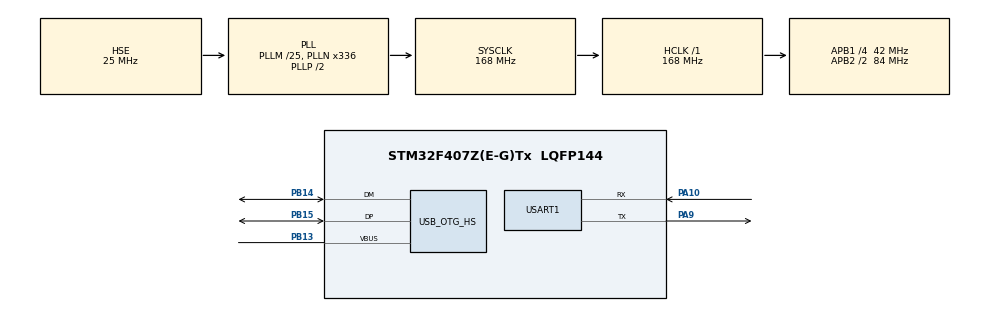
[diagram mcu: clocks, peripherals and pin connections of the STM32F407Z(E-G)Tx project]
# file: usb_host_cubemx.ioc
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Mcu.Family=STM32F4
Mcu.Name=STM32F407Z(E-G)Tx
Mcu.Package=LQFP144
NVIC.OTG_HS_IRQn=true\:0\:0\:false\:false\:true\:false\:true\:true
NVIC.PriorityGroup=NVIC_PRIORITYGROUP_4
PA10.Mode=Asynchronous
PA10.Signal=USART1_RX
PA9.Mode=Asynchronous
PA9.Signal=USART1_TX
PB13.Mode=Activate_VBUS_FS
PB13.Signal=USB_OTG_HS_VBUS
PB14.Mode=Host_FS
PB14.Signal=USB_OTG_HS_DM
PB15.Mode=Host_FS
PB15.Signal=USB_OTG_HS_DP
PH0-OSC_IN.Mode=HSE-External-Oscillator
PH0-OSC_IN.Signal=RCC_OSC_IN
PH1-OSC_OUT.Mode=HSE-External-Oscillator
PH1-OSC_OUT.Signal=RCC_OSC_OUT
ProjectManager.HeapSize=0x200
ProjectManager.StackSize=0x400
ProjectManager.TargetToolchain=STM32CubeIDE
RCC.48MHZClocksFreq_Value=48000000
RCC.AHBFreq_Value=168000000
RCC.APB1CLKDivider=RCC_HCLK_DIV4
RCC.APB1Freq_Value=42000000
RCC.APB1TimFreq_Value=84000000
RCC.APB2CLKDivider=RCC_HCLK_DIV2
RCC.APB2Freq_Value=84000000
RCC.APB2TimFreq_Value=168000000
RCC.CortexFreq_Value=168000000
RCC.HCLKFreq_Value=168000000
RCC.HSE_VALUE=25000000
RCC.HSI_VALUE=16000000
RCC.LSE_VALUE=32768
RCC.PLLM=25
RCC.PLLN=336
RCC.PLLQ=7
RCC.SYSCLKFreq_VALUE=168000000
RCC.SYSCLKSource=RCC_SYSCLKSOURCE_PLLCLK
RCC.VCOOutputFreq_Value=336000000
USART1.VirtualMode=VM_ASYNC
USB_HOST.SW_VBUS_DRIVE_HID_HS=true
USB_HOST.USBH_HandleTypeDef-HID_HS=hUsbHostHS
USB_HOST.VirtualModeHS=Hid
USB_OTG_HS.VirtualMode-Host_FS=Host_FS
VP_USB_HOST_VS_USB_HOST_HID_HS.Mode=HID_HS
board=custom

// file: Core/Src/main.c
/* USER CODE BEGIN Header */
/**
  ******************************************************************************
  * @file           : main.c
  * @brief          : Main program body
  ******************************************************************************
  * @attention
  *
  * Copyright (c) 2026 STMicroelectronics.
  * All rights reserved.
  *
  * This software is licensed under terms that can be found in the LICENSE file
  * in the root directory of this software component.
  * If no LICENSE file comes with this software, it is provided AS-IS.
  *
  ******************************************************************************
  */
/* USER CODE END Header */
#include "main.h"
#include "usb_host.h"

/* USER CODE BEGIN Includes */
#include "usbh_def.h"
#include "usbh_hid.h"
/* USER CODE END Includes */

UART_HandleTypeDef huart1;

void SystemClock_Config(void);
static void MX_GPIO_Init(void);
static void MX_USART1_UART_Init(void);
void MX_USB_HOST_Process(void);

/* USER CODE BEGIN 0 */
#define hUART           huart1
int _write( int32_t file , uint8_t *ptr , int32_t len )
{
    /* Implement your write code here, this is used by puts and printf for example */
    for ( int16_t i = 0 ; i < len ; ++i )
    {
        HAL_UART_Transmit( &hUART, ptr++, 1, 100);
    }
    return len;
}

void USBH_HID_EventCallback(USBH_HandleTypeDef *phost)
{
	if(USBH_HID_GetDeviceType(phost) == HID_MOUSE)  // if the HID is Mouse
	{
		HID_MOUSE_Info_TypeDef *Mouse_Info;
		Mouse_Info = USBH_HID_GetMouseInfo(phost);  // Get the info
		int X_Val = Mouse_Info->x;  // get the x value
		int Y_Val = Mouse_Info->y;  // get the y value
		if (X_Val > 127) X_Val -= 255;
		if (Y_Val > 127) Y_Val -= 255;
		printf ("X=%d, Y=%d, Button1=%d, Button2=%d, Button3=%d\r\n", X_Val, Y_Val, \
				                                Mouse_Info->buttons[0],Mouse_Info->buttons[1], Mouse_Info->buttons[2]);
	}

	if(USBH_HID_GetDeviceType(phost) == HID_KEYBOARD)  // if the HID is Mouse
	{
		uint8_t key;
		HID_KEYBD_Info_TypeDef *Keyboard_Info;
		Keyboard_Info = USBH_HID_GetKeybdInfo(phost);  // get the info
		key = USBH_HID_GetASCIICode(Keyboard_Info);  // get the key pressed

		if(key >=32 && key <= 126)
		{
			printf("Key Pressed = %c\r\n", key);
		}
	}
}
/* USER CODE END 0 */

int main(void)
{

  /* MCU Configuration--------------------------------------------------------*/

  /* Reset of all peripherals, Initializes the Flash interface and the Systick. */
  HAL_Init();

  /* Configure the system clock */
  SystemClock_Config();

  /* Initialize all configured peripherals */
  MX_GPIO_Init();
  MX_USART1_UART_Init();
  MX_USB_HOST_Init();

  /* Infinite loop */
  while (1)
  {
    MX_USB_HOST_Process();

  }
}

void SystemClock_Config(void)
{
  RCC_OscInitTypeDef RCC_OscInitStruct = {0};
  RCC_ClkInitTypeDef RCC_ClkInitStruct = {0};

  /** Configure the main internal regulator output voltage
  */
  __HAL_RCC_PWR_CLK_ENABLE();
  __HAL_PWR_VOLTAGESCALING_CONFIG(PWR_REGULATOR_VOLTAGE_SCALE1);

  /** Initializes the RCC Oscillators according to the specified parameters
  * in the RCC_OscInitTypeDef structure.
  */
  RCC_OscInitStruct.OscillatorType = RCC_OSCILLATORTYPE_HSE;
  RCC_OscInitStruct.HSEState = RCC_HSE_ON;
  RCC_OscInitStruct.PLL.PLLState = RCC_PLL_ON;
  RCC_OscInitStruct.PLL.PLLSource = RCC_PLLSOURCE_HSE;
  RCC_OscInitStruct.PLL.PLLM = 25;
  RCC_OscInitStruct.PLL.PLLN = 336;
  RCC_OscInitStruct.PLL.PLLP = RCC_PLLP_DIV2;
  RCC_OscInitStruct.PLL.PLLQ = 7;
  if (HAL_RCC_OscConfig(&RCC_OscInitStruct) != HAL_OK)
  {
    Error_Handler();
  }

  /** Initializes the CPU, AHB and APB buses clocks
  */
  RCC_ClkInitStruct.ClockType = RCC_CLOCKTYPE_HCLK|RCC_CLOCKTYPE_SYSCLK
                              |RCC_CLOCKTYPE_PCLK1|RCC_CLOCKTYPE_PCLK2;
  RCC_ClkInitStruct.SYSCLKSource = RCC_SYSCLKSOURCE_PLLCLK;
  RCC_ClkInitStruct.AHBCLKDivider = RCC_SYSCLK_DIV1;
  RCC_ClkInitStruct.APB1CLKDivider = RCC_HCLK_DIV4;
  RCC_ClkInitStruct.APB2CLKDivider = RCC_HCLK_DIV2;

  if (HAL_RCC_ClockConfig(&RCC_ClkInitStruct, FLASH_LATENCY_5) != HAL_OK)
  {
    Error_Handler();
  }
}

static void MX_USART1_UART_Init(void)
{

  huart1.Instance = USART1;
  huart1.Init.BaudRate = 115200;
  huart1.Init.WordLength = UART_WORDLENGTH_8B;
  huart1.Init.StopBits = UART_STOPBITS_1;
  huart1.Init.Parity = UART_PARITY_NONE;
  huart1.Init.Mode = UART_MODE_TX_RX;
  huart1.Init.HwFlowCtl = UART_HWCONTROL_NONE;
  huart1.Init.OverSampling = UART_OVERSAMPLING_16;
  if (HAL_UART_Init(&huart1) != HAL_OK)
  {
    Error_Handler();
  }

}

static void MX_GPIO_Init(void)
{

  /* GPIO Ports Clock Enable */
  __HAL_RCC_GPIOH_CLK_ENABLE();
  __HAL_RCC_GPIOB_CLK_ENABLE();
  __HAL_RCC_GPIOA_CLK_ENABLE();

}

void Error_Handler(void)
{
  __disable_irq();
  while (1)
  {
  }
}
